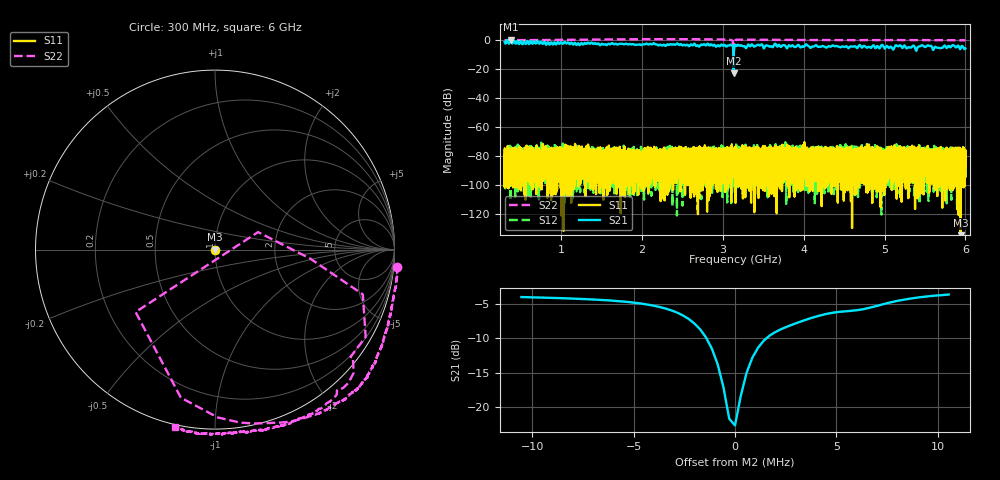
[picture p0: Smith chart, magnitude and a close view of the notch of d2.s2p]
!Agilent Technologies,N5230C,SG49000117,A.08.50.07
!Agilent N5230C: A.08.50.07
!Date: Monday, March 18, 2024 17:57:28
!Correction: S11(Off)
!S21(Off)
!S12(Off)
!S22(Full 1 Port(2))
!S2P File: Measurements: S11, S21, S12, S22:
# Hz S  RI  R 50
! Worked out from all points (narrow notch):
!   20001 points, 300 MHz to 6 GHz, reference 50 ohm
!   highest |S21| = 0.44 dB at 374.7 MHz (marker M1); lowest = -22.6 dB at 3.132 GHz (marker M2)
!   notch at M2: 19.3 dB deep, 1.79 MHz wide at half that depth
!   lowest |S11| = -138.3 dB at 5.94 GHz (marker M3), VSWR 1.00, Z = 50 - j1.08e-05 ohm
!   |S11| at or under -10 dB: start of sweep to end of sweep
!   |S22| runs from -15.8 to 0.9 dB; largest |S21 - S12| = 1.1
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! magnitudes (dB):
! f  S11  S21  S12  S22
! 300 MHz  -79.2  -0.9  -81.7  0.2
! 374.7 MHz  -78.4  0.4  -80.6  0.2
! 1.25 GHz  -90.8  -1.8  -82.2  0.5
! 2.2 GHz  -80.3  -3.4  -78.0  0.9
! 3.052 GHz  -81.4  -3.9  -82.1  0.5
! 3.132 GHz  -78.2  -22.6  -89.9  -10.7
! 3.15 GHz  -80.9  -3.3  -79.7  -0.4
! 3.169 GHz  -76.6  -3.9  -80.9  0.3
! 3.202 GHz  -93.4  -3.5  -94.3  0.5
! 3.979 GHz  -76.4  -4.1  -87.5  0.3
! 4.037 GHz  -76.2  -2.9  -77.6  0.2
! 4.1 GHz  -102.1  -4.4  -83.2  0.3
! 5.05 GHz  -81.5  -5.1  -83.9  0.2
! 5.098 GHz  -76.2  -5.8  -89.6  0.3
! 5.171 GHz  -82.8  -4.0  -86.4  0.2
! 5.4 GHz  -87.2  -6.1  -81.1  0.2
! 5.447 GHz  -80.7  -3.7  -86.0  0.2
! 5.551 GHz  -87.2  -3.8  -85.2  0.2
! 5.616 GHz  -79.4  -5.0  -90.1  0.2
! 5.848 GHz  -82.1  -3.3  -80.4  0.1
! 5.94 GHz  -138.3  -5.6  -84.5  0.1
! 6 GHz  -83.2  -5.5  -81.2  0.1
